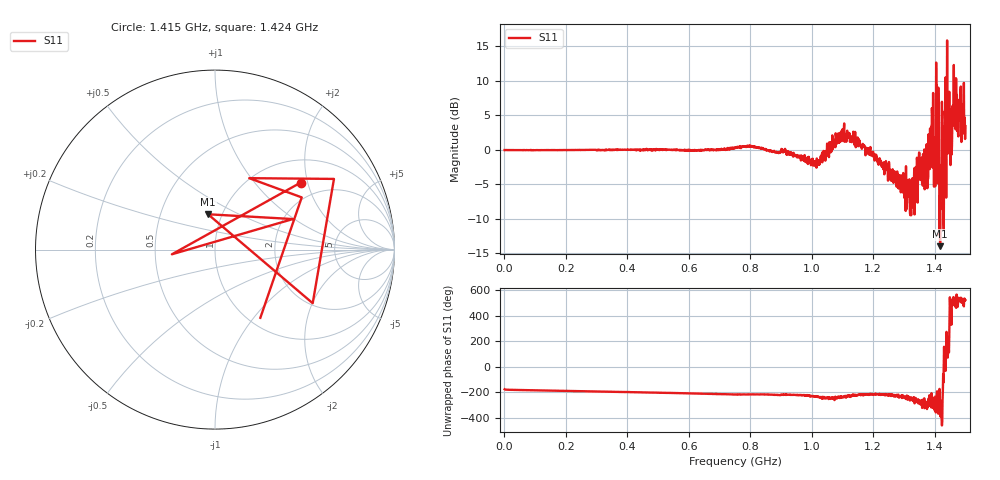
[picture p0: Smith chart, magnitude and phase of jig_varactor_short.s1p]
# Hz S RI R 50
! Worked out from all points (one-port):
!   1514 points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, 1.041 MHz to 1.5 GHz, reference 50 ohm
!   lowest |S11| = -14.0 dB at 1.418 GHz (marker M1), VSWR 1.50, Z = 42.9 + j17.6 ohm
!   |S11| at or under -10 dB: 1.415497 GHz to 1.416194 GHz (696.3 kHz wide, 0.0492 % of centre); 1.417234 GHz to 1.418168 GHz (933.7 kHz wide, 0.0659 % of centre); 1.428615 GHz to 1.42982 GHz (1.205 MHz wide, 0.0843 % of centre)
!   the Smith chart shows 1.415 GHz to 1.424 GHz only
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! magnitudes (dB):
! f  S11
! 1.041 MHz  0.0
! 189.3 MHz  0.0
! 376.5 MHz  0.0
! 563.8 MHz  0.0
! 751 MHz  0.4
! 938.3 MHz  -0.7
! 1.019 GHz  -1.7
! 1.099 GHz  1.7
! 1.126 GHz  1.7
! 1.313 GHz  -6.8
! 1.326 GHz  -4.5
! 1.355 GHz  -2.8
! 1.372 GHz  -3.2
! 1.388 GHz  0.8
! 1.397 GHz  -0.7
! 1.407 GHz  9.4
! 1.41 GHz  2.2
! 1.415 GHz  -4.3
! 1.418 GHz  -14.0
! 1.419 GHz  -4.1
! 1.423 GHz  -6.8
! 1.429 GHz  -10.2
! 1.433 GHz  5.6
! 1.441 GHz  15.9
! 1.447 GHz  8.4
! 1.449 GHz  0.7
! 1.468 GHz  3.0
! 1.5 GHz  3.4
